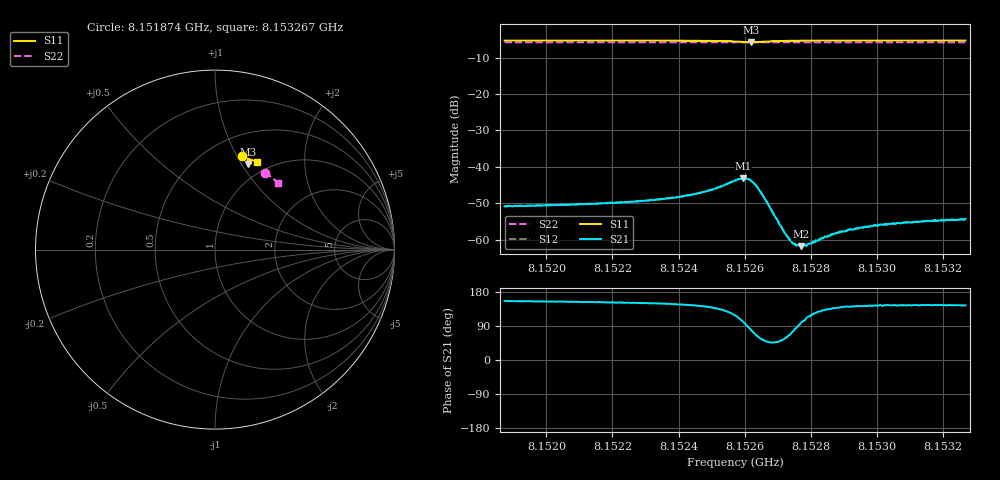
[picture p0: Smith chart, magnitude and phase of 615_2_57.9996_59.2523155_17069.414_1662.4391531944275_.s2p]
#  HZ  S  RI  R  50.00
! Rohde & Schwarz Vector Network Analyzer
! Rohde-Schwarz,ZNB20-2Port,1311601062101988,3.16
! Created: UTC 3/21/2024, 1:17:54 AM
! freq[Hz]  re:S11  im:S11  re:S21  im:S21  re:S12  im:S12  re:S22  im:S22
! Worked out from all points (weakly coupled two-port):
!   401 points, 8.151874 GHz to 8.153267 GHz, reference 50 ohm
!   highest |S21| = -43.13 dB at 8.152595 GHz (marker M1); lowest = -61.7 dB at 8.152769 GHz (marker M2)
!   lowest |S11| = -5.8 dB at 8.152619 GHz (marker M3), VSWR 3.09, Z = 41.4 + j53.5 ohm
!   |S11| at or under -10 dB: nowhere
!   |S22| runs from -5.8 to -5.8 dB; largest |S21 - S12| = 0.00014
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8.1518739e9  0.1489 0.5194  -0.00263 0.00117  -0.0026 0.00121  0.2798 0.4289
8.1521072e9  0.1655 0.5147  -0.00274 0.00141  -0.00276 0.00144  0.2923 0.4202
8.1523405e9  0.1831 0.5084  -0.00307 0.00182  -0.00309 0.00186  0.3042 0.4112
8.1524067e9  0.1887 0.5057  -0.00327 0.00215  -0.00325 0.00224  0.3075 0.4085
8.1524729e9  0.1949 0.5015  -0.00355 0.00277  -0.00352 0.00283  0.311 0.4059
8.1525112e9  0.1989 0.4976  -0.00369 0.00347  -0.00368 0.00351  0.3128 0.4042
8.1525704e9  0.2017 0.4848  -0.00303 0.00575  -0.00297 0.00585  0.3155 0.4012
8.1525947e9  0.1963 0.4774  -0.00135 0.00684  -0.00129 0.00688  0.3164 0.4002
8.1526191e9  0.185 0.4767  0.00121 0.00633  0.00131 0.00637  0.317 0.3995
8.1526331e9  0.1802 0.4812  0.00219 0.00515  0.0023 0.00521  0.3175 0.3992
8.1526505e9  0.1784 0.4883  0.00249 0.00354  0.00256 0.00356  0.3183 0.3988
8.1527201e9  0.189 0.5004  0.000689 0.00103  0.000745 0.00103  0.3222 0.3963
8.1527306e9  0.1907 0.5008  0.000494 0.000976  0.000507 0.000941  0.3228 0.3959
8.152748e9  0.193 0.5011  0.000194 0.000857  0.000212 0.000843  0.3238 0.3953
8.1527689e9  0.1958 0.5012  -0.00011 0.000812  -9.27e-05 0.000833  0.3247 0.3942
8.1527898e9  0.1984 0.501  -0.000346 0.000793  -0.000273 0.000806  0.3259 0.3935
8.1528037e9  0.1997 0.5009  -0.000442 0.000793  -0.000458 0.000818  0.3267 0.393
8.1528385e9  0.2033 0.5003  -0.000704 0.000814  -0.000684 0.000815  0.3283 0.3916
8.1528873e9  0.2075 0.499  -0.000974 0.000867  -0.000959 0.000844  0.3306 0.3894
8.1529639e9  0.2138 0.4971  -0.0012 0.000904  -0.0012 0.000931  0.3343 0.386
8.153037e9  0.2191 0.4952  -0.00135 0.00096  -0.00134 0.000975  0.3378 0.3829
8.1532668e9  0.2349 0.4886  -0.00157 0.00114  -0.00157 0.00112  0.3483 0.373
